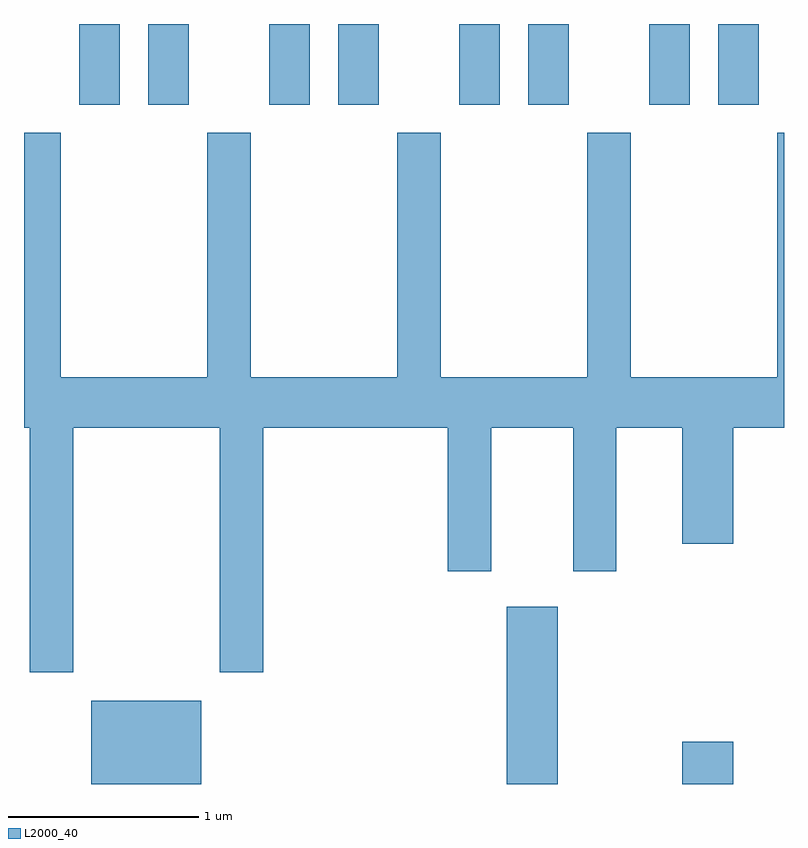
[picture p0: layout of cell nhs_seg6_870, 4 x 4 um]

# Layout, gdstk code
import gdstk
lib = gdstk.Library(unit=1e-6, precision=1e-09)
def R(c, l, rs):  # rectangles x0, y0, x1, y1
    for r in rs: c.add(gdstk.rectangle(r[:2], r[2:], *l))
def P(c, l, *ps):  # polygons
    for p in ps: c.add(gdstk.Polygon(p, *l))
L2000_40 = (2000, 40)

nhs_seg6_870 = lib.new_cell('nhs_seg6_870')
R(nhs_seg6_870, L2000_40, [(211.966,1548.162,212.544,1548.599), (214.151,1548.162,214.419,1549.094), (215.076,1548.162,215.344,1548.384), (211.901,1551.736,212.114,1552.162), (212.266,1551.736,212.479,1552.162), (212.901,1551.736,213.114,1552.162), (213.266,1551.736,213.479,1552.162), (213.901,1551.736,214.114,1552.162), (214.266,1551.736,214.479,1552.162), (214.901,1551.736,215.114,1552.162), (215.266,1551.736,215.479,1552.162)])
P(nhs_seg6_870, L2000_40, [(211.869,1550.036),(212.641,1550.036),(212.641,1548.751),(212.869,1548.751),(212.869,1550.036),(213.841,1550.036),(213.841,1549.281),(214.069,1549.281),(214.069,1550.036),(214.501,1550.036),(214.501,1549.281),(214.729,1549.281),(214.729,1550.036),(215.076,1550.036),(215.076,1549.426),(215.344,1549.426),(215.344,1550.036),(215.611,1550.036),(215.611,1551.589),(215.576,1551.589),(215.576,1550.304),(214.804,1550.304),(214.804,1551.589),(214.576,1551.589),(214.576,1550.304),(213.804,1550.304),(213.804,1551.589),(213.576,1551.589),(213.576,1550.304),(212.804,1550.304),(212.804,1551.589),(212.576,1551.589),(212.576,1550.304),(211.804,1550.304),(211.804,1551.589),(211.611,1551.589),(211.611,1550.036),(211.641,1550.036),(211.641,1548.751),(211.869,1548.751)])

lib.write_gds('nhs_seg6_870.gds')
